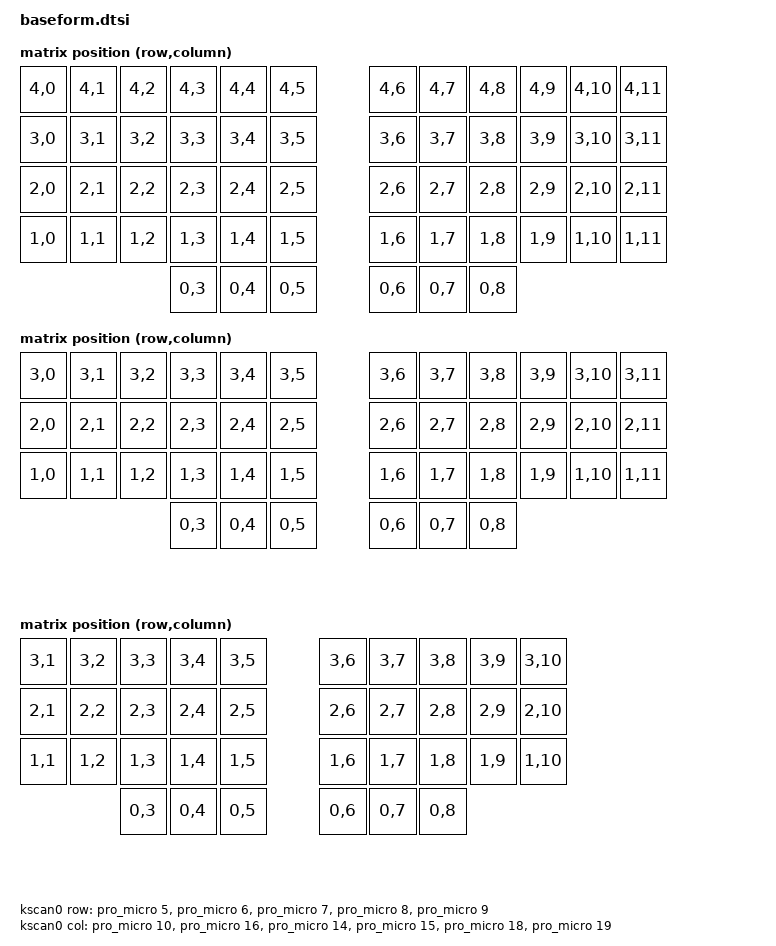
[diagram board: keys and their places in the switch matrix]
/*
 * Copyright (c) 2022 The ZMK Contributors
 *
 * SPDX-License-Identifier: MIT
 */

#include <dt-bindings/zmk/matrix_transform.h>
#include <dt-bindings/gpio/gpio.h>
#include <dt-bindings/led/led.h>
#include <physical_layouts.dtsi>

/ {

    chosen {
        zephyr,display = &oled;
        zmk,physical-layout = &baseform_6x4_lo;
        zmk,studio-rpc-uart = &uart1;
    };

    aliases {
        led-strip = &ws2812;
    };

    ws2812: ws2812 {
        compatible = "worldsemi,ws2812-gpio";
        status = "okay";
        chain-length = <1>;
        color-mapping = <LED_COLOR_ID_GREEN LED_COLOR_ID_RED LED_COLOR_ID_BLUE>;
        in-gpios = <&gpio0 22 GPIO_ACTIVE_HIGH>;
    };

    baseform_6x4_lo: baseform_6x4_lo {
	compatible = "zmk,physical-layout";
	display-name = "BF3 54-key Layout";
	
	transform = <&baseform_6x4_tf>;
	kscan = <&kscan0>;
	
		keys       //                  w   h   x    y o x y
			= <&key_physical_attrs 100 100 100  0 0 0 0>
			, <&key_physical_attrs 100 100 200  0 0 0 0>
			, <&key_physical_attrs 100 100 300  0 0 0 0>
			, <&key_physical_attrs 100 100 400  0 0 0 0>
			, <&key_physical_attrs 100 100 500  0 0 0 0>
			, <&key_physical_attrs 100 100 600  0 0 0 0>
                        //
			, <&key_physical_attrs 100 100 800  0 0 0 0>
			, <&key_physical_attrs 100 100 900  0 0 0 0>
			, <&key_physical_attrs 100 100 1000 0 0 0 0>
			, <&key_physical_attrs 100 100 1100 0 0 0 0>
			, <&key_physical_attrs 100 100 1200 0 0 0 0>
			, <&key_physical_attrs 100 100 1300 0 0 0 0>

			, <&key_physical_attrs 100 100 100  100 0 0 0>
			, <&key_physical_attrs 100 100 200  100 0 0 0>
			, <&key_physical_attrs 100 100 300  100 0 0 0>
			, <&key_physical_attrs 100 100 400  100 0 0 0>
			, <&key_physical_attrs 100 100 500  100 0 0 0>
			, <&key_physical_attrs 100 100 600  100 0 0 0>
			//
                        , <&key_physical_attrs 100 100 800  100 0 0 0>
			, <&key_physical_attrs 100 100 900  100 0 0 0>
			, <&key_physical_attrs 100 100 1000 100 0 0 0>
			, <&key_physical_attrs 100 100 1100 100 0 0 0>
			, <&key_physical_attrs 100 100 1200 100 0 0 0>
			, <&key_physical_attrs 100 100 1300 100 0 0 0>

			, <&key_physical_attrs 100 100 100  200 0 0 0>
			, <&key_physical_attrs 100 100 200  200 0 0 0>
			, <&key_physical_attrs 100 100 300  200 0 0 0>
			, <&key_physical_attrs 100 100 400  200 0 0 0>
			, <&key_physical_attrs 100 100 500  200 0 0 0>
			, <&key_physical_attrs 100 100 600  200 0 0 0>
                        //
			, <&key_physical_attrs 100 100 800  200 0 0 0>
			, <&key_physical_attrs 100 100 900  200 0 0 0>
			, <&key_physical_attrs 100 100 1000 200 0 0 0>
			, <&key_physical_attrs 100 100 1100 200 0 0 0>
			, <&key_physical_attrs 100 100 1200 200 0 0 0>
			, <&key_physical_attrs 100 100 1300 200 0 0 0>

			, <&key_physical_attrs 100 100 100  300 0 0 0>
			, <&key_physical_attrs 100 100 200  300 0 0 0>
			, <&key_physical_attrs 100 100 300  300 0 0 0>
			, <&key_physical_attrs 100 100 400  300 0 0 0>
			, <&key_physical_attrs 100 100 500  300 0 0 0>
			, <&key_physical_attrs 100 100 600  300 0 0 0>
                        //
			, <&key_physical_attrs 100 100 800  300 0 0 0>
			, <&key_physical_attrs 100 100 900  300 0 0 0>
			, <&key_physical_attrs 100 100 1000 300 0 0 0>
			, <&key_physical_attrs 100 100 1100 300 0 0 0>
			, <&key_physical_attrs 100 100 1200 300 0 0 0>
			, <&key_physical_attrs 100 100 1300 300 0 0 0>

			, <&key_physical_attrs 100 100 400  400 0 0 0>
			, <&key_physical_attrs 100 100 500  400 0 0 0>
			, <&key_physical_attrs 100 100 600  400 0 0 0>
			, <&key_physical_attrs 100 100 800  400 0 0 0>
			, <&key_physical_attrs 100 100 900  400 0 0 0>
			, <&key_physical_attrs 100 100 1000  400 0 0 0>
			;
    };

    baseform_6x3_lo: baseform_6x3_lo {
	compatible = "zmk,physical-layout";
	display-name = "BF2 42-key Layout";
	
	transform = <&baseform_6x3_tf>;
	kscan = <&kscan0>;
	
		keys       //                  w   h   x    y o x y
			= <&key_physical_attrs 100 100 100  0 0 0 0>
			, <&key_physical_attrs 100 100 200  0 0 0 0>
			, <&key_physical_attrs 100 100 300  0 0 0 0>
			, <&key_physical_attrs 100 100 400  0 0 0 0>
			, <&key_physical_attrs 100 100 500  0 0 0 0>
			, <&key_physical_attrs 100 100 600  0 0 0 0>
                        //
			, <&key_physical_attrs 100 100 800  0 0 0 0>
			, <&key_physical_attrs 100 100 900  0 0 0 0>
			, <&key_physical_attrs 100 100 1000 0 0 0 0>
			, <&key_physical_attrs 100 100 1100 0 0 0 0>
			, <&key_physical_attrs 100 100 1200 0 0 0 0>
			, <&key_physical_attrs 100 100 1300 0 0 0 0>

			, <&key_physical_attrs 100 100 100  100 0 0 0>
			, <&key_physical_attrs 100 100 200  100 0 0 0>
			, <&key_physical_attrs 100 100 300  100 0 0 0>
			, <&key_physical_attrs 100 100 400  100 0 0 0>
			, <&key_physical_attrs 100 100 500  100 0 0 0>
			, <&key_physical_attrs 100 100 600  100 0 0 0>
                        //
			, <&key_physical_attrs 100 100 800  100 0 0 0>
			, <&key_physical_attrs 100 100 900  100 0 0 0>
			, <&key_physical_attrs 100 100 1000 100 0 0 0>
			, <&key_physical_attrs 100 100 1100 100 0 0 0>
			, <&key_physical_attrs 100 100 1200 100 0 0 0>
			, <&key_physical_attrs 100 100 1300 100 0 0 0>

			, <&key_physical_attrs 100 100 100  200 0 0 0>
			, <&key_physical_attrs 100 100 200  200 0 0 0>
			, <&key_physical_attrs 100 100 300  200 0 0 0>
			, <&key_physical_attrs 100 100 400  200 0 0 0>
			, <&key_physical_attrs 100 100 500  200 0 0 0>
			, <&key_physical_attrs 100 100 600  200 0 0 0>
                        //
			, <&key_physical_attrs 100 100 800  200 0 0 0>
			, <&key_physical_attrs 100 100 900  200 0 0 0>
			, <&key_physical_attrs 100 100 1000 200 0 0 0>
			, <&key_physical_attrs 100 100 1100 200 0 0 0>
			, <&key_physical_attrs 100 100 1200 200 0 0 0>
			, <&key_physical_attrs 100 100 1300 200 0 0 0>

			, <&key_physical_attrs 100 100 400   300 0 0 0>
			, <&key_physical_attrs 100 100 500   300 0 0 0>
			, <&key_physical_attrs 100 100 600   300 0 0 0>
			, <&key_physical_attrs 100 100 800   300 0 0 0>
			, <&key_physical_attrs 100 100 900   300 0 0 0>
			, <&key_physical_attrs 100 100 1000  300 0 0 0>
			;
    };

    baseform_5x3_lo: baseform_5x3_lo {
	compatible = "zmk,physical-layout";
	display-name = "BF1 36-key Layout";
	
	transform = <&baseform_5x3_tf>;
	kscan = <&kscan0>;
	
		keys       //                  w   h   x    y o x y
			= <&key_physical_attrs 100 100 200  0 0 0 0>
			, <&key_physical_attrs 100 100 300  0 0 0 0>
			, <&key_physical_attrs 100 100 400  0 0 0 0>
			, <&key_physical_attrs 100 100 500  0 0 0 0>
			, <&key_physical_attrs 100 100 600  0 0 0 0>
                        //
			, <&key_physical_attrs 100 100 800  0 0 0 0>
			, <&key_physical_attrs 100 100 900  0 0 0 0>
			, <&key_physical_attrs 100 100 1000 0 0 0 0>
			, <&key_physical_attrs 100 100 1100 0 0 0 0>
			, <&key_physical_attrs 100 100 1200 0 0 0 0>
			
			, <&key_physical_attrs 100 100 200  100 0 0 0>
			, <&key_physical_attrs 100 100 300  100 0 0 0>
			, <&key_physical_attrs 100 100 400  100 0 0 0>
			, <&key_physical_attrs 100 100 500  100 0 0 0>
			, <&key_physical_attrs 100 100 600  100 0 0 0>
                        //
			, <&key_physical_attrs 100 100 800  100 0 0 0>
			, <&key_physical_attrs 100 100 900  100 0 0 0>
			, <&key_physical_attrs 100 100 1000 100 0 0 0>
			, <&key_physical_attrs 100 100 1100 100 0 0 0>
			, <&key_physical_attrs 100 100 1200 100 0 0 0>
			
			, <&key_physical_attrs 100 100 200  200 0 0 0>
			, <&key_physical_attrs 100 100 300  200 0 0 0>
			, <&key_physical_attrs 100 100 400  200 0 0 0>
			, <&key_physical_attrs 100 100 500  200 0 0 0>
			, <&key_physical_attrs 100 100 600  200 0 0 0>
                        //        
			, <&key_physical_attrs 100 100 800  200 0 0 0>
			, <&key_physical_attrs 100 100 900  200 0 0 0>
			, <&key_physical_attrs 100 100 1000 200 0 0 0>
			, <&key_physical_attrs 100 100 1100 200 0 0 0>
			, <&key_physical_attrs 100 100 1200 200 0 0 0>
			
			, <&key_physical_attrs 100 100 400   300 0 0 0>
			, <&key_physical_attrs 100 100 500   300 0 0 0>
			, <&key_physical_attrs 100 100 600   300 0 0 0>
			, <&key_physical_attrs 100 100 800   300 0 0 0>
			, <&key_physical_attrs 100 100 900   300 0 0 0>
			, <&key_physical_attrs 100 100 1000  300 0 0 0>
			;
    };

    baseform_6x4_tf: kmtf_0 {
        compatible = "zmk,matrix-transform";
        columns = <12>;
        rows = <5>;
        map = <

        RC(4,0) RC(4,1) RC(4,2) RC(4,3) RC(4,4) RC(4,5)     RC(4,6) RC(4,7) RC(4,8) RC(4,9) RC(4,10) RC(4,11)
	RC(3,0) RC(3,1) RC(3,2) RC(3,3) RC(3,4) RC(3,5)     RC(3,6) RC(3,7) RC(3,8) RC(3,9) RC(3,10) RC(3,11)
	RC(2,0) RC(2,1) RC(2,2) RC(2,3) RC(2,4) RC(2,5)     RC(2,6) RC(2,7) RC(2,8) RC(2,9) RC(2,10) RC(2,11)
	RC(1,0) RC(1,1) RC(1,2) RC(1,3) RC(1,4) RC(1,5)     RC(1,6) RC(1,7) RC(1,8) RC(1,9) RC(1,10) RC(1,11)
				RC(0,3) RC(0,4) RC(0,5)     RC(0,6) RC(0,7) RC(0,8)

        >;
    };

    baseform_6x3_tf: kmtf_1 {
        compatible = "zmk,matrix-transform";
        columns = <12>;
        rows = <4>;
        map = <

	RC(3,0) RC(3,1) RC(3,2) RC(3,3) RC(3,4) RC(3,5)     RC(3,6) RC(3,7) RC(3,8) RC(3,9) RC(3,10) RC(3,11)
	RC(2,0) RC(2,1) RC(2,2) RC(2,3) RC(2,4) RC(2,5)     RC(2,6) RC(2,7) RC(2,8) RC(2,9) RC(2,10) RC(2,11)
	RC(1,0) RC(1,1) RC(1,2) RC(1,3) RC(1,4) RC(1,5)     RC(1,6) RC(1,7) RC(1,8) RC(1,9) RC(1,10) RC(1,11)
				RC(0,3) RC(0,4) RC(0,5)     RC(0,6) RC(0,7) RC(0,8)

        >;
    };

    baseform_5x3_tf: kmtf_2 {
        compatible = "zmk,matrix-transform";
        columns = <10>;
        rows = <4>;
        map = <

		RC(3,1) RC(3,2) RC(3,3) RC(3,4) RC(3,5)     RC(3,6) RC(3,7) RC(3,8) RC(3,9) RC(3,10)
		RC(2,1) RC(2,2) RC(2,3) RC(2,4) RC(2,5)     RC(2,6) RC(2,7) RC(2,8) RC(2,9) RC(2,10)
		RC(1,1) RC(1,2) RC(1,3) RC(1,4) RC(1,5)     RC(1,6) RC(1,7) RC(1,8) RC(1,9) RC(1,10)
				RC(0,3) RC(0,4) RC(0,5)     RC(0,6) RC(0,7) RC(0,8)

        >;
    };

    layouts_baseform_pm {
        compatible = "zmk,physical-layout-position-map";

        complete;

        baseform_6x4_pm: baseform_6x4_pm {
            physical-layout = <&baseform_6x4_lo>;
            positions
                = < 0  1  2  3  4  5  6  7  8  9 10 11>
                , <12 13 14 15 16 17 18 19 20 21 22 23>
                , <24 25 26 27 28 29 30 31 32 33 34 35>
                , <36 37 38 39 40 41 42 43 44 45 46 47>
                , <48 49 50 51 52 53>
                ;
        };

        baseform_6x3_pm: baseform_6x3_pm {
            physical-layout = <&baseform_6x3_lo>;
            positions
                = <53 52 51 50 49 48 47 46 45 44 43 42>
                , < 0  1  2  3  4  5  6  7  8  9 10 11>
                , <12 13 14 15 16 17 18 19 20 21 22 23>
                , <24 25 26 27 28 29 30 31 32 33 34 35>
                , <36 37 38 39 40 41>
                ;
        };

        baseform_5x3_pm: baseform_5x3_pm {
            physical-layout = <&baseform_5x3_lo>;
            positions
                = <53 52 51 50 49 48 47 46 45 44 43 42>
                , <41  0  1  2  3  4  5  6  7  8  9 40>
                , <39 10 11 12 13 14 15 16 17 18 19 38>
                , <37 20 21 22 23 24 25 26 27 28 29 36>
                , <30 31 32 33 34 35>
                ;
        };
    };

    kscan0: kscan { 
        compatible = "zmk,kscan-gpio-matrix";
	label = "KSCAN";
	diode-direction = "col2row";
        wakeup-source;

	row-gpios
		= <&pro_micro 5 (GPIO_ACTIVE_HIGH | GPIO_PULL_DOWN)>
		, <&pro_micro 6 (GPIO_ACTIVE_HIGH | GPIO_PULL_DOWN)>
		, <&pro_micro 7 (GPIO_ACTIVE_HIGH | GPIO_PULL_DOWN)>
		, <&pro_micro 8 (GPIO_ACTIVE_HIGH | GPIO_PULL_DOWN)>
		, <&pro_micro 9 (GPIO_ACTIVE_HIGH | GPIO_PULL_DOWN)>
		;
	col-gpios
		= <&pro_micro 10 (GPIO_ACTIVE_HIGH | GPIO_PULL_DOWN)>
		, <&pro_micro 16 (GPIO_ACTIVE_HIGH | GPIO_PULL_DOWN)>
		, <&pro_micro 14 (GPIO_ACTIVE_HIGH | GPIO_PULL_DOWN)>
		, <&pro_micro 15 (GPIO_ACTIVE_HIGH | GPIO_PULL_DOWN)>
		, <&pro_micro 18 (GPIO_ACTIVE_HIGH | GPIO_PULL_DOWN)>
		, <&pro_micro 19 (GPIO_ACTIVE_HIGH | GPIO_PULL_DOWN)>
        	;
    };

};

//redefined in central.overlay
&pro_micro_i2c {
    status = "okay";
    oled: ssd1306@3c {
        compatible = "solomon,ssd1306fb";
        reg = <0x3c>;
        width = <128>;
        height = <64>;
        segment-offset = <0>;
        page-offset = <0>;
        display-offset = <0>;
        multiplex-ratio = <63>;
        //segment-remap;
        //com-invdir;
        //com-sequential;
        inversion-on;
        prechargep = <0x22>;
    };
};

